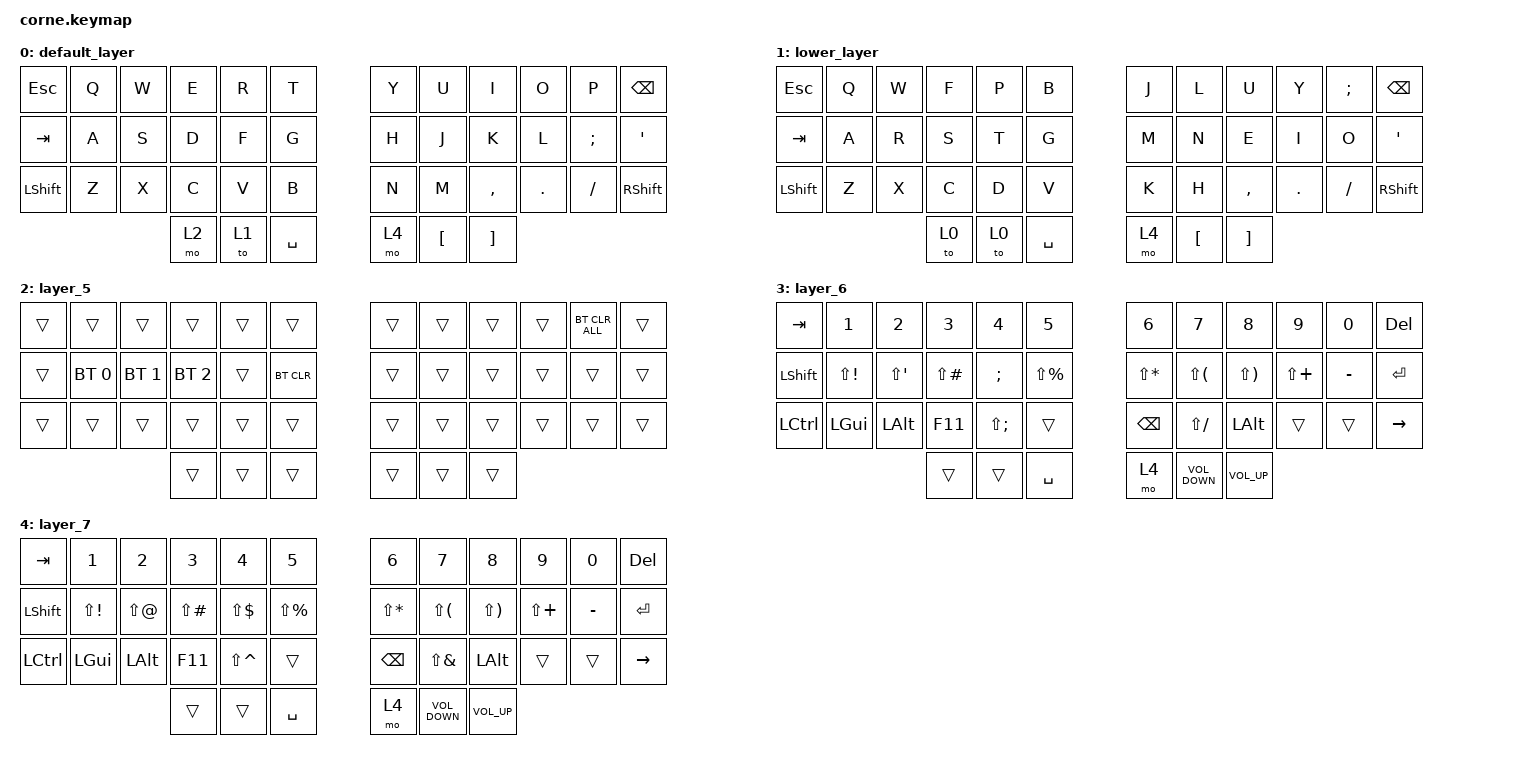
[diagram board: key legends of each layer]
/*
 * Copyright (c) 2020 The ZMK Contributors
 *
 * SPDX-License-Identifier: MIT
 */

#include <behaviors.dtsi>
#include <dt-bindings/zmk/bt.h>
#include <dt-bindings/zmk/keys.h>

/ {
    keymap {
        compatible = "zmk,keymap";

        default_layer {
            // -----------------------------------------------------------------------------------------
            // |  TAB |  Q  |  W  |  E  |  R  |  T  |   |  Y  |  U   |  I  |  O  |  P  | BKSP |
            // | CTRL |  A  |  S  |  D  |  F  |  G  |   |  H  |  J   |  K  |  L  |  ;  |  '   |
            // | SHFT |  Z  |  X  |  C  |  V  |  B  |   |  N  |  M   |  ,  |  .  |  /  | ESC  |
            //                    | GUI | LWR | SPC |   | ENT | RSE  | ALT |

            bindings = <
&kp ESCAPE  &kp Q  &kp W  &kp E  &kp R  &kp T        &kp Y  &kp U             &kp I              &kp O    &kp P     &kp BSPC
&kp TAB     &kp A  &kp S  &kp D  &kp F  &kp G        &kp H  &kp J             &kp K              &kp L    &kp SEMI  &kp SQT
&kp LSHFT   &kp Z  &kp X  &kp C  &kp V  &kp B        &kp N  &kp M             &kp COMMA          &kp DOT  &kp FSLH  &kp RIGHT_SHIFT
                          &mo 2  &to 1  &kp SPACE    &mo 4  &kp LEFT_BRACKET  &kp RIGHT_BRACKET
            >;
        };

        lower_layer {
            // -----------------------------------------------------------------------------------------
            // |  TAB |  1  |  2  |  3  |  4  |  5  |   |  6  |  7  |  8  |  9  |  0  | BKSP |
            // | BTCLR| BT1 | BT2 | BT3 | BT4 | BT5 |   | LFT | DWN |  UP | RGT |     |      |
            // | SHFT |     |     |     |     |     |   |     |     |     |     |     |      |
            //                    | GUI |     | SPC |   | ENT |     | ALT |

            bindings = <
&kp ESCAPE  &kp Q  &kp W  &kp F  &kp P  &kp B        &kp J  &kp L             &kp U              &kp Y       &kp SEMICOLON  &kp BSPC
&kp TAB     &kp A  &kp R  &kp S  &kp T  &kp G        &kp M  &kp N             &kp E              &kp I       &kp O          &kp SQT
&kp LSHFT   &kp Z  &kp X  &kp C  &kp D  &kp V        &kp K  &kp H             &kp COMMA          &kp PERIOD  &kp SLASH      &kp RIGHT_SHIFT
                          &to 0  &to 0  &kp SPACE    &mo 4  &kp LEFT_BRACKET  &kp RIGHT_BRACKET
            >;
        };

        layer_5 {
            bindings = <
&trans  &trans        &trans        &trans        &trans  &trans        &trans  &trans  &trans  &trans  &bt BT_CLR_ALL  &trans
&trans  &bt BT_SEL 0  &bt BT_SEL 1  &bt BT_SEL 2  &trans  &bt BT_CLR    &trans  &trans  &trans  &trans  &trans          &trans
&trans  &trans        &trans        &trans        &trans  &trans        &trans  &trans  &trans  &trans  &trans          &trans
                                    &trans        &trans  &trans        &trans  &trans  &trans
            >;
        };

        layer_6 {
            bindings = <
&kp TAB    &kp N1        &kp N2       &kp N3         &kp N4             &kp N5           &kp N6        &kp N7             &kp N8           &kp N9        &kp N0     &kp DEL
&kp LSHFT  &kp LS(EXCL)  &kp LS(SQT)  &kp LS(POUND)  &kp SEMICOLON      &kp LS(PRCNT)    &kp LS(STAR)  &kp LS(LPAR)       &kp LS(RPAR)     &kp LS(PLUS)  &kp MINUS  &kp ENTER
&kp LCTRL  &kp LGUI      &kp LALT     &kp F11        &kp LS(SEMICOLON)  &trans           &kp BSPC      &kp LS(SLASH)      &kp LALT         &trans        &trans     &kp RIGHT
                                      &trans         &trans             &kp SPACE        &mo 4         &kp C_VOLUME_DOWN  &kp C_VOLUME_UP
            >;
        };

        layer_7 {
            bindings = <
&kp TAB    &kp N1        &kp N2      &kp N3         &kp N4         &kp N5           &kp N6        &kp N7             &kp N8           &kp N9        &kp N0     &kp DEL
&kp LSHFT  &kp LS(EXCL)  &kp LS(AT)  &kp LS(POUND)  &kp LS(DLLR)   &kp LS(PRCNT)    &kp LS(STAR)  &kp LS(LPAR)       &kp LS(RPAR)     &kp LS(PLUS)  &kp MINUS  &kp ENTER
&kp LCTRL  &kp LGUI      &kp LALT    &kp F11        &kp LS(CARET)  &trans           &kp BSPC      &kp LS(AMPS)       &kp LALT         &trans        &trans     &kp RIGHT
                                     &trans         &trans         &kp SPACE        &mo 4         &kp C_VOLUME_DOWN  &kp C_VOLUME_UP
            >;
        };
    };
};
